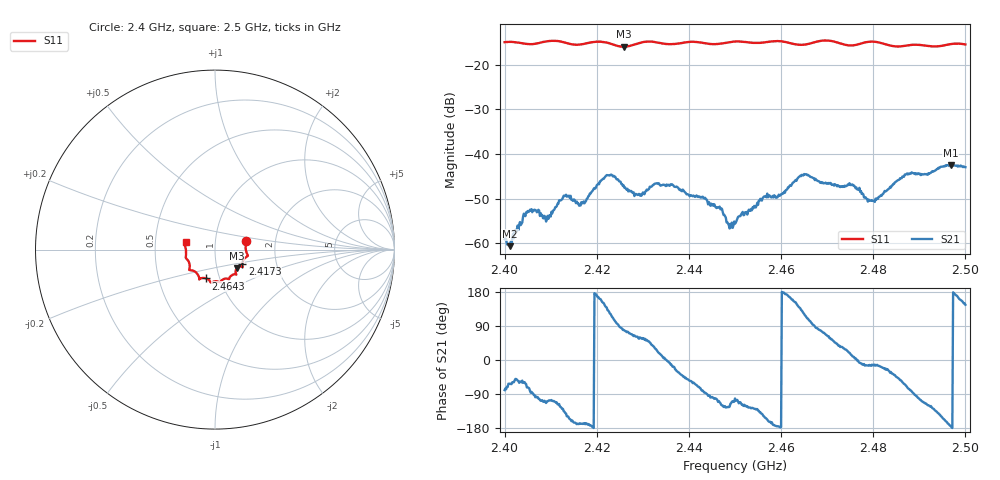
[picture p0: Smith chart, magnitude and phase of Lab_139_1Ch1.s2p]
# Hz S RI R 50
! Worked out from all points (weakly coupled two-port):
!   601 points, 2.4 GHz to 2.5 GHz, reference 50 ohm
!   highest |S21| = -42.44 dB at 2.4968 GHz (marker M1); lowest = -60.7 dB at 2.4012 GHz (marker M2)
!   lowest |S11| = -15.9 dB at 2.4258 GHz (marker M3), VSWR 1.38, Z = 62.3 - j13.2 ohm
!   |S11| at or under -10 dB: start of sweep to end of sweep
!   S12 and S22 are empty: the file has one direction only
!   S11 on the Smith chart (normalised r, x): 2.4 GHz: 1.41, +0.14; 2.4173 GHz: 1.34, -0.23; 2.4643 GHz: 0.86, -0.28; 2.5 GHz: 0.72, +0.06
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2.4e9  0.1733 0.0489  0.000204 -0.00109  0 0  0 0
2.401167e9  0.176 0.0442  0.000429 -0.000816  0 0  0 0
2.405333e9  0.1707 0.00974  0.000596 -0.00219  0 0  0 0
2.4095e9  0.1824 -0.0318  -0.000562 -0.00178  0 0  0 0
2.413333e9  0.1716 -0.0426  -0.00272 -0.00218  0 0  0 0
2.416667e9  0.153 -0.0745  -0.00282 -0.000586  0 0  0 0
2.417333e9  0.152 -0.0821  -0.00272 -0.000643  0 0  0 0
2.422333e9  0.15 -0.0947  -0.00382 0.00433  0 0  0 0
2.425833e9  0.1218 -0.1035  0.000806 0.00436  0 0  0 0
2.429333e9  0.1162 -0.1336  0.00172 0.00296  0 0  0 0
2.433333e9  0.1127 -0.1374  0.00432 0.0016  0 0  0 0
2.443333e9  0.0678 -0.1616  0.000214 -0.00316  0 0  0 0
2.448667e9  0.0324 -0.1766  -0.000892 -0.0013  0 0  0 0
2.45e9  0.029 -0.1811  -0.000328 -0.00161  0 0  0 0
2.464333e9  -0.05 -0.1604  -0.00379 0.00418  0 0  0 0
2.466667e9  -0.0758 -0.1591  -0.000676 0.00545  0 0  0 0
2.475333e9  -0.1097 -0.1238  0.00441 0.000976  0 0  0 0
2.479333e9  -0.1424 -0.114  0.00289 -0.000717  0 0  0 0
2.483333e9  -0.1408 -0.0895  0.00356 -0.0019  0 0  0 0
2.487333e9  -0.1567 -0.0537  0.00193 -0.00573  0 0  0 0
2.496833e9  -0.1693 0.0259  -0.00751 -0.000778  0 0  0 0
2.5e9  -0.1643 0.0428  -0.00589 0.00399  0 0  0 0
